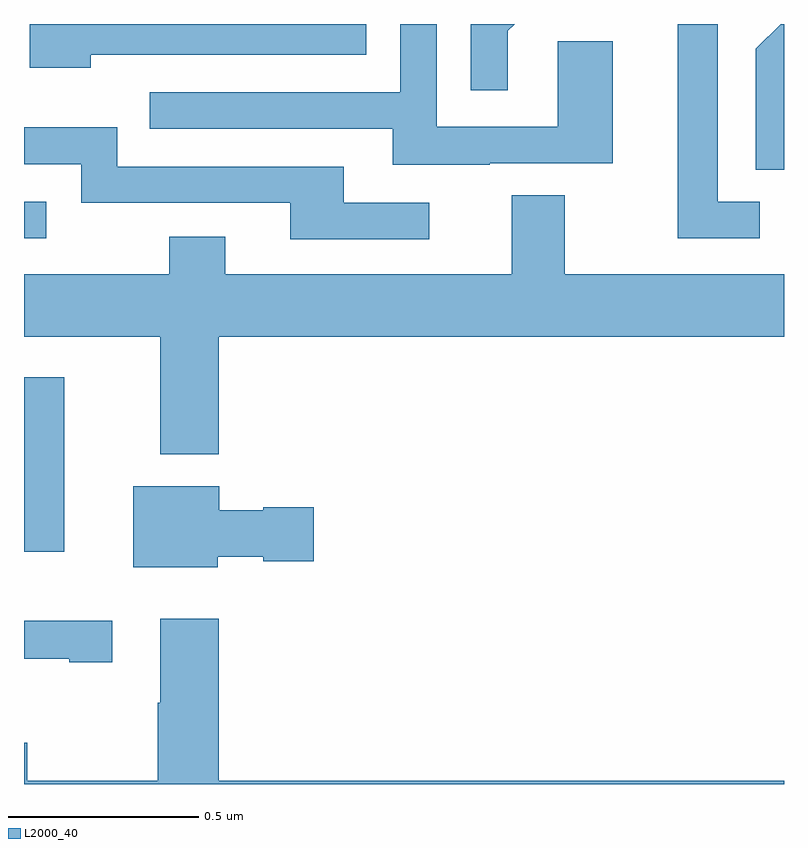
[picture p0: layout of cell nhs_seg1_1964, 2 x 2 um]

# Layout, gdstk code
import gdstk
lib = gdstk.Library(unit=1e-6, precision=1e-09)
def R(c, l, rs):  # rectangles x0, y0, x1, y1
    for r in rs: c.add(gdstk.rectangle(r[:2], r[2:], *l))
def P(c, l, *ps):  # polygons
    for p in ps: c.add(gdstk.Polygon(p, *l))
L2000_40 = (2000, 40)

nhs_seg1_1964 = lib.new_cell('nhs_seg1_1964')
R(nhs_seg1_1964, L2000_40, [(135,573.81,135.106,574.27), (135,574.635,135.058,574.731)])
P(nhs_seg1_1964, L2000_40, [(136.225,574.833),(136.549,574.833),(136.549,575.153),(136.404,575.153),(136.404,574.929),(136.086,574.929),(136.086,575.199),(135.99,575.199),(135.99,575.019),(135.331,575.019),(135.331,574.923),(135.971,574.923),(135.971,574.829),(136.225,574.829)],
  [(137,575.199),(136.991,575.199),(136.926,575.134),(136.926,574.816),(137,574.816)],
  [(135.176,575.118),(135.9,575.118),(135.9,575.199),(135.015,575.199),(135.015,575.084),(135.176,575.084)],
  [(136.936,574.731),(136.825,574.731),(136.825,575.199),(136.721,575.199),(136.721,574.635),(136.936,574.635)],
  [(136.273,575.181),(136.291,575.199),(136.176,575.199),(136.176,575.025),(136.273,575.025)],
  [(136.066,574.728),(135.841,574.728),(135.841,574.824),(135.246,574.824),(135.246,574.927),(135,574.927),(135,574.83),(135.15,574.83),(135.15,574.728),(135.701,574.728),(135.701,574.632),(136.066,574.632)],
  [(135.512,574.376),(137,574.376),(137,574.54),(136.423,574.54),(136.423,574.748),(136.283,574.748),(136.283,574.54),(135.529,574.54),(135.529,574.639),(135.382,574.639),(135.382,574.54),(135,574.54),(135,574.376),(135.359,574.376),(135.359,574.067),(135.512,574.067)],
  [(135.51,573.797),(135.63,573.797),(135.63,573.785),(135.763,573.785),(135.763,573.927),(135.63,573.927),(135.63,573.919),(135.514,573.919),(135.514,573.982),(135.287,573.982),(135.287,573.77),(135.51,573.77)],
  [(137,573.208),(135.512,573.208),(135.512,573.634),(135.359,573.634),(135.359,573.413),(135.352,573.413),(135.352,573.208),(135.009,573.208),(135.009,573.307),(135,573.307),(135,573.199),(137,573.199)],
  [(135.232,573.629),(135,573.629),(135,573.529),(135.119,573.529),(135.119,573.519),(135.232,573.519)])

lib.write_gds('nhs_seg1_1964.gds')
